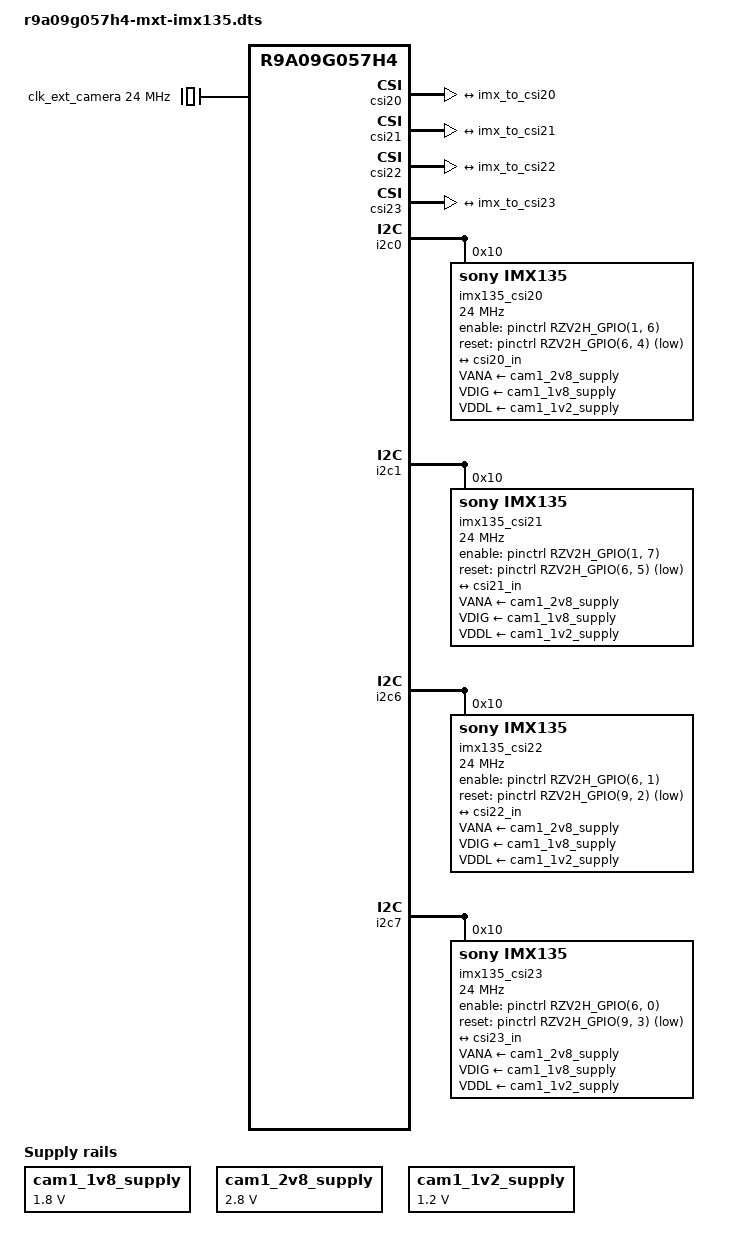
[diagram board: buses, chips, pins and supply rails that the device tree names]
// SPDX-License-Identifier: (GPL-2.0-only OR BSD-2-Clause)
/*
 * Device Tree Source for the RZ/V2H EVK MXT board variant (IMX135 camera)
 *
 * Copyright (C) 2025 Renesas Electronics Corporation
 * Copyright (C) 2024 MXT Creation SRL
 */

/dts-v1/;
#include "rzv2h-evk-ver1.dts"

/ {
	/delete-node/ 1p8v;
	/delete-node/ 2p8v;
	/delete-node/ 1p5v;
	
	cam1_1v8_supply: 1p8v {
		compatible = "regulator-fixed";
		regulator-name = "cam1_1v8_supply";
		regulator-min-microvolt = <1800000>;
		regulator-max-microvolt = <1800000>;
		regulator-always-on;
	};

	cam1_2v8_supply: 2p8v {
		compatible = "regulator-fixed";
		regulator-name = "cam1_2v8_supply";
		regulator-min-microvolt = <2800000>;
		regulator-max-microvolt = <2800000>;
		regulator-always-on;
	};

	cam1_1v2_supply: 1p2v {
		compatible = "regulator-fixed";
		regulator-name = "cam1_1v2_supply";
		regulator-min-microvolt = <1200000>;
		regulator-max-microvolt = <1200000>;
		regulator-always-on;
	};

	clk_ext_camera: clk_ext_camera {
		compatible = "fixed-clock";
		#clock-cells = <0>;
		clock-frequency = <24000000>;
	};
};
&csi20 {
	status = "okay";

	ports {
		port {
			csi20_in: endpoint {
				clock-lanes = <0>;
				data-lanes = <1 2>;
				remote-endpoint = <&imx_to_csi20>;
			};
		};
	};
};

&csi21 {
	status = "okay";

	ports {
		port {
			csi21_in: endpoint {
				clock-lanes = <0>;
				data-lanes = <1 2>;
				remote-endpoint = <&imx_to_csi21>;
			};
		};
	};
};

&csi22 {
	status = "okay";

	ports {
		port {
			csi22_in: endpoint {
				clock-lanes = <0>;
				data-lanes = <1 2>;
				remote-endpoint = <&imx_to_csi22>;
			};
		};
	};
};

&csi23 {
	status = "okay";

	ports {
		port {
			csi23_in: endpoint {
				clock-lanes = <0>;
				data-lanes = <1 2>;
				remote-endpoint = <&imx_to_csi23>;
			};
		};
	};
};

&i2c0 {
	pinctrl-0 = <&i2c0_pins>;
	pinctrl-names = "default";

	status = "okay";
	
	imx135_csi20: imx135_csi20@10 {
		compatible = "sony,imx135";
		reg = <0x10>;
		clock-names = "xclk";
		clocks = <&clk_ext_camera>;
		clock-frequency = <24000000>;
		VANA-supply = <&cam1_2v8_supply>;
		VDIG-supply = <&cam1_1v8_supply>;
		VDDL-supply = <&cam1_1v2_supply>;
		
		/* Set dummy enable gpio */
		enable-gpios = <&pinctrl RZV2H_GPIO(1, 6) GPIO_ACTIVE_HIGH>;
		reset-gpios = <&pinctrl RZV2H_GPIO(6, 4) GPIO_ACTIVE_LOW>;

		port {
			imx_to_csi20: endpoint {
				clock-lanes = <0>;
				data-lanes = <1 2>;
				remote-endpoint = <&csi20_in>;
				clock-noncontinuous;
				link-frequencies = /bits/ 64 <456000000>;
			};
		};
	};
	
	/delete-node/ ov5645_csi20@3c;
};

&i2c1 {
	pinctrl-0 = <&i2c1_pins>;
	pinctrl-names = "default";

	status = "okay";
	
	imx135_csi21: imx135_csi21@10 {
		compatible = "sony,imx135";
		reg = <0x10>;
		clock-names = "xclk";
		clocks = <&clk_ext_camera>;
		clock-frequency = <24000000>;
		VANA-supply = <&cam1_2v8_supply>;
		VDIG-supply = <&cam1_1v8_supply>;
		VDDL-supply = <&cam1_1v2_supply>;
		
		/* Set dummy enable gpio */
		enable-gpios = <&pinctrl RZV2H_GPIO(1, 7) GPIO_ACTIVE_HIGH>;
		reset-gpios = <&pinctrl RZV2H_GPIO(6, 5) GPIO_ACTIVE_LOW>;

		port {
			imx_to_csi21: endpoint {
				clock-lanes = <0>;
				data-lanes = <1 2>;
				remote-endpoint = <&csi21_in>;
				clock-noncontinuous;
				link-frequencies = /bits/ 64 <456000000>;
			};
		};
	};
	
	/delete-node/ ov5645_csi21@3c;
};

&i2c6 {
	pinctrl-0 = <&i2c6_pins>;
	pinctrl-names = "default";

	status = "okay";
	
	imx135_csi22: imx135_csi22@10 {
		compatible = "sony,imx135";
		reg = <0x10>;
		clock-names = "xclk";
		clocks = <&clk_ext_camera>;
		clock-frequency = <24000000>;
		VANA-supply = <&cam1_2v8_supply>;
		VDIG-supply = <&cam1_1v8_supply>;
		VDDL-supply = <&cam1_1v2_supply>;
		
		enable-gpios = <&pinctrl RZV2H_GPIO(6, 1) GPIO_ACTIVE_HIGH>;
		reset-gpios = <&pinctrl RZV2H_GPIO(9, 2) GPIO_ACTIVE_LOW>;

		port {
			imx_to_csi22: endpoint {
				clock-lanes = <0>;
				data-lanes = <1 2>;
				remote-endpoint = <&csi22_in>;
				clock-noncontinuous;
				link-frequencies = /bits/ 64 <456000000>;
			};
		};
	};
	
	/delete-node/ ov5645_csi22@3c;
};

&i2c7 {
	pinctrl-0 = <&i2c7_pins>;
	pinctrl-names = "default";

	status = "okay";
	
	imx135_csi23: imx135_csi23@10 {
		compatible = "sony,imx135";
		reg = <0x10>;
		clock-names = "xclk";
		clocks = <&clk_ext_camera>;
		clock-frequency = <24000000>;
		VANA-supply = <&cam1_2v8_supply>;
		VDIG-supply = <&cam1_1v8_supply>;
		VDDL-supply = <&cam1_1v2_supply>;
		
		enable-gpios = <&pinctrl RZV2H_GPIO(6, 0) GPIO_ACTIVE_HIGH>;
		reset-gpios = <&pinctrl RZV2H_GPIO(9, 3) GPIO_ACTIVE_LOW>;

		port {
			imx_to_csi23: endpoint {
				clock-lanes = <0>;
				data-lanes = <1 2>;
				remote-endpoint = <&csi23_in>;
				clock-noncontinuous;
				link-frequencies = /bits/ 64 <456000000>;
			};
		};
	};
	
	/delete-node/ ov5645_csi23@3c;
};

